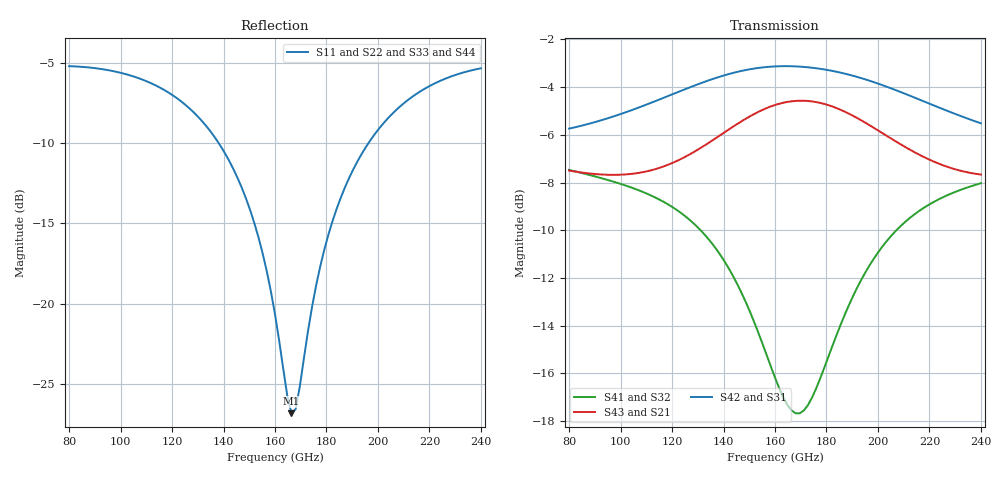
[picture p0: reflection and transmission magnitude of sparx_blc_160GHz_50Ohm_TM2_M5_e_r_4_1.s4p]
#  GHZ S DB R 50.0
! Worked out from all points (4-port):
!   101 points, 80 GHz to 240 GHz, reference 50 ohm
!   strongest paths, dB at 80 GHz, 120 GHz, 160 GHz, 200 GHz, 240 GHz:
!     S42: -5.7, -4.3, -3.1, -3.9, -5.5
!     S31: -5.7, -4.3, -3.1, -3.9, -5.5
!     S43: -7.5, -7.2, -4.7, -5.8, -7.7
!     S21: -7.5, -7.2, -4.7, -5.8, -7.7
!     S41: -7.5, -9.0, -16.2, -10.9, -8.0
!     S32: -7.5, -9.0, -16.2, -11.0, -8.0
!   lowest |S11| = -26.8 dB at 166.4 GHz (marker M1), VSWR 1.10, Z = 54.8 + j0.0909 ohm
!   |S11| at or under -10 dB: 138.2 GHz to 196.3 GHz (58.13 GHz wide, 34.8 % of centre)
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80  -5.19 158.1  -7.50 -48.6  -5.74 -79.4  -7.47 -62.1
    -7.50 -48.6  -5.19 158.1  -7.47 -62.0  -5.74 -79.4
    -5.74 -79.4  -7.47 -62.0  -5.19 158.1  -7.50 -48.6
    -7.47 -62.1  -5.74 -79.4  -7.50 -48.6  -5.19 158.0
139.2  -10.26 105.5  -5.98 -71.0  -3.54 -146.6  -11.11 -111.5
       -5.98 -71.0  -10.27 105.5  -11.10 -111.5  -3.54 -146.6
       -3.54 -146.6  -11.10 -111.5  -10.26 105.4  -5.98 -70.9
       -11.11 -111.5  -3.54 -146.6  -5.98 -70.9  -10.25 105.4
153.6  -15.88 81.5  -5.03 -82.9  -3.20 -166.8  -14.31 -118.1
       -5.03 -82.9  -15.89 81.5  -14.31 -118.2  -3.20 -166.8
       -3.20 -166.8  -14.31 -118.2  -15.87 81.3  -5.03 -82.8
       -14.31 -118.1  -3.20 -166.8  -5.03 -82.8  -15.86 81.3
166.4  -26.84 1.0  -4.59 -96.4  -3.12 174.8  -17.55 -101.7
       -4.59 -96.4  -26.81 0.5  -17.56 -101.8  -3.13 174.7
       -3.12 174.8  -17.56 -101.8  -26.70 0.6  -4.59 -96.4
       -17.55 -101.7  -3.13 174.7  -4.59 -96.4  -26.73 1.0
179.2  -16.61 -92.8  -4.71 -110.5  -3.26 156.5  -15.75 -75.5
       -4.71 -110.5  -16.58 -92.7  -15.77 -75.5  -3.26 156.5
       -3.26 156.5  -15.77 -75.5  -16.58 -92.5  -4.71 -110.5
       -15.75 -75.5  -3.26 156.5  -4.71 -110.5  -16.60 -92.6
192  -11.14 -114.8  -5.30 -123.1  -3.57 138.7  -12.39 -74.9
     -5.30 -123.1  -11.13 -114.7  -12.41 -74.8  -3.58 138.7
     -3.57 138.7  -12.41 -74.8  -11.13 -114.6  -5.30 -123.0
     -12.39 -74.9  -3.58 138.7  -5.30 -123.0  -11.14 -114.7
240  -5.33 -161.2  -7.67 -147.4  -5.52 81.5  -8.03 -115.6
     -7.67 -147.4  -5.32 -161.1  -8.04 -115.5  -5.52 81.5
     -5.52 81.5  -8.04 -115.5  -5.32 -161.1  -7.66 -147.3
     -8.03 -115.6  -5.52 81.5  -7.66 -147.3  -5.33 -161.2
